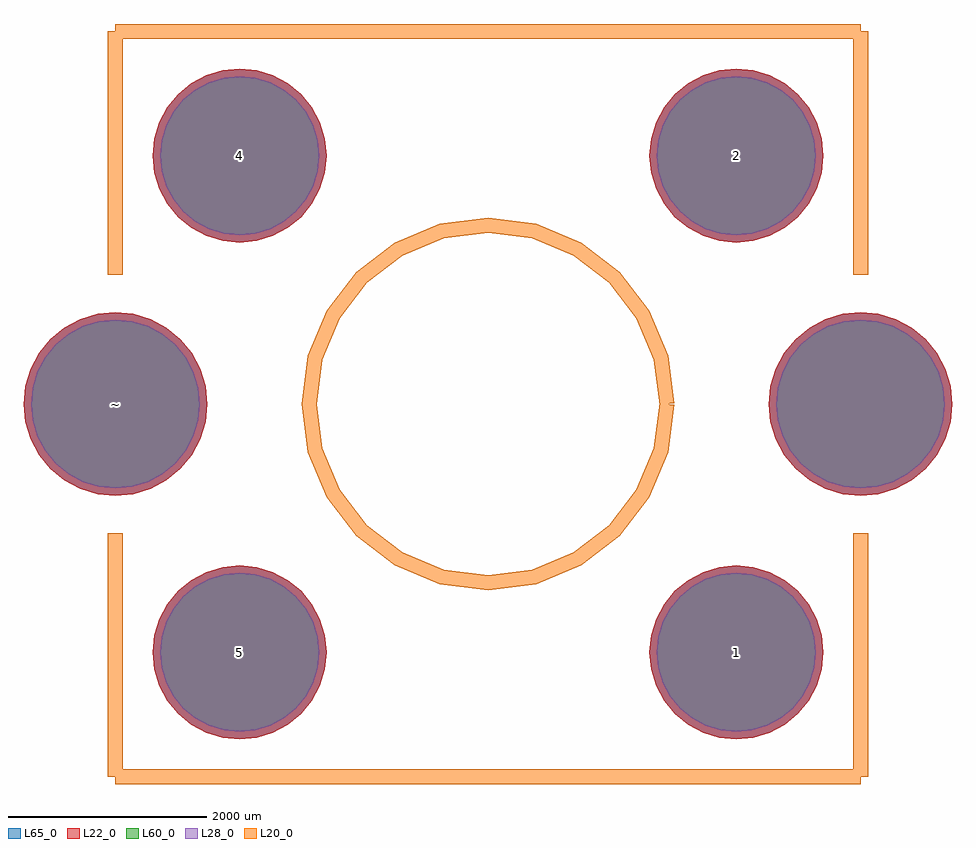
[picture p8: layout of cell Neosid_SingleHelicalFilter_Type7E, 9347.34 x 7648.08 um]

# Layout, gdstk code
import gdstk
lib = gdstk.Library(unit=1e-6, precision=1e-09)
def P(c, l, *ps):  # polygons
    for p in ps: c.add(gdstk.Polygon(p, *l))
L20_0 = (20, 0)
L22_0 = (22, 0)
L28_0 = (28, 0)
L60_0 = (60, 0)
L65_0 = (65, 0)

neosid_singlehelicalfilt = lib.new_cell('Neosid_SingleHelicalFilter_Type7E')
P(neosid_singlehelicalfilt, L22_0, [(4673.67,0),(4655.903,180.386),(4603.287,353.841),(4517.842,513.697),(4402.852,653.812),(4262.737,768.802),(4102.881,854.247),(3929.426,906.863),(3749.04,924.63),(3568.654,906.863),(3395.199,854.247),(3235.343,768.802),(3095.228,653.812),(2980.238,513.697),(2894.793,353.841),(2842.177,180.386),(2824.41,0),(2842.177,-180.386),(2894.793,-353.841),(2980.238,-513.697),(3095.228,-653.812),(3235.343,-768.802),(3395.199,-854.247),(3568.654,-906.863),(3749.04,-924.63),(3929.426,-906.863),(4102.881,-854.247),(4262.737,-768.802),(4402.852,-653.812),(4517.842,-513.697),(4603.287,-353.841),(4655.903,-180.386)],
  [(-2824.41,0),(-2842.177,180.386),(-2894.793,353.841),(-2980.238,513.697),(-3095.228,653.812),(-3235.343,768.802),(-3395.199,854.247),(-3568.654,906.863),(-3749.04,924.63),(-3929.426,906.863),(-4102.881,854.247),(-4262.737,768.802),(-4402.852,653.812),(-4517.842,513.697),(-4603.287,353.841),(-4655.903,180.386),(-4673.67,0),(-4655.903,-180.386),(-4603.287,-353.841),(-4517.842,-513.697),(-4402.852,-653.812),(-4262.737,-768.802),(-4102.881,-854.247),(-3929.426,-906.863),(-3749.04,-924.63),(-3568.654,-906.863),(-3395.199,-854.247),(-3235.343,-768.802),(-3095.228,-653.812),(-2980.238,-513.697),(-2894.793,-353.841),(-2842.177,-180.386)],
  [(3374.46,-2499.36),(3357.645,-2328.636),(3307.847,-2164.474),(3226.979,-2013.18),(3118.149,-1880.571),(2985.54,-1771.741),(2834.246,-1690.873),(2670.084,-1641.075),(2499.36,-1624.26),(2328.636,-1641.075),(2164.474,-1690.873),(2013.18,-1771.741),(1880.571,-1880.571),(1771.741,-2013.18),(1690.873,-2164.474),(1641.075,-2328.636),(1624.26,-2499.36),(1641.075,-2670.084),(1690.873,-2834.246),(1771.741,-2985.54),(1880.571,-3118.149),(2013.18,-3226.979),(2164.474,-3307.847),(2328.636,-3357.645),(2499.36,-3374.46),(2670.084,-3357.645),(2834.246,-3307.847),(2985.54,-3226.979),(3118.149,-3118.149),(3226.979,-2985.54),(3307.847,-2834.246),(3357.645,-2670.084)],
  [(-1624.26,-2499.36),(-1641.075,-2328.636),(-1690.873,-2164.474),(-1771.741,-2013.18),(-1880.571,-1880.571),(-2013.18,-1771.741),(-2164.474,-1690.873),(-2328.636,-1641.075),(-2499.36,-1624.26),(-2670.084,-1641.075),(-2834.246,-1690.873),(-2985.54,-1771.741),(-3118.149,-1880.571),(-3226.979,-2013.18),(-3307.847,-2164.474),(-3357.645,-2328.636),(-3374.46,-2499.36),(-3357.645,-2670.084),(-3307.847,-2834.246),(-3226.979,-2985.54),(-3118.149,-3118.149),(-2985.54,-3226.979),(-2834.246,-3307.847),(-2670.084,-3357.645),(-2499.36,-3374.46),(-2328.636,-3357.645),(-2164.474,-3307.847),(-2013.18,-3226.979),(-1880.571,-3118.149),(-1771.741,-2985.54),(-1690.873,-2834.246),(-1641.075,-2670.084)],
  [(-1624.26,2499.36),(-1641.075,2670.084),(-1690.873,2834.246),(-1771.741,2985.54),(-1880.571,3118.149),(-2013.18,3226.979),(-2164.474,3307.847),(-2328.636,3357.645),(-2499.36,3374.46),(-2670.084,3357.645),(-2834.246,3307.847),(-2985.54,3226.979),(-3118.149,3118.149),(-3226.979,2985.54),(-3307.847,2834.246),(-3357.645,2670.084),(-3374.46,2499.36),(-3357.645,2328.636),(-3307.847,2164.474),(-3226.979,2013.18),(-3118.149,1880.571),(-2985.54,1771.741),(-2834.246,1690.873),(-2670.084,1641.075),(-2499.36,1624.26),(-2328.636,1641.075),(-2164.474,1690.873),(-2013.18,1771.741),(-1880.571,1880.571),(-1771.741,2013.18),(-1690.873,2164.474),(-1641.075,2328.636)],
  [(3374.46,2499.36),(3357.645,2670.084),(3307.847,2834.246),(3226.979,2985.54),(3118.149,3118.149),(2985.54,3226.979),(2834.246,3307.847),(2670.084,3357.645),(2499.36,3374.46),(2328.636,3357.645),(2164.474,3307.847),(2013.18,3226.979),(1880.571,3118.149),(1771.741,2985.54),(1690.873,2834.246),(1641.075,2670.084),(1624.26,2499.36),(1641.075,2328.636),(1690.873,2164.474),(1771.741,2013.18),(1880.571,1880.571),(2013.18,1771.741),(2164.474,1690.873),(2328.636,1641.075),(2499.36,1624.26),(2670.084,1641.075),(2834.246,1690.873),(2985.54,1771.741),(3118.149,1880.571),(3226.979,2013.18),(3307.847,2164.474),(3357.645,2328.636)])
P(neosid_singlehelicalfilt, L28_0, [(4598.67,0),(4582.345,165.755),(4533.996,325.139),(4455.482,472.029),(4349.819,600.779),(4221.069,706.442),(4074.179,784.956),(3914.795,833.305),(3749.04,849.63),(3583.285,833.305),(3423.901,784.956),(3277.011,706.442),(3148.261,600.779),(3042.598,472.029),(2964.084,325.139),(2915.735,165.755),(2899.41,0),(2915.735,-165.755),(2964.084,-325.139),(3042.598,-472.029),(3148.261,-600.779),(3277.011,-706.442),(3423.901,-784.956),(3583.285,-833.305),(3749.04,-849.63),(3914.795,-833.305),(4074.179,-784.956),(4221.069,-706.442),(4349.819,-600.779),(4455.482,-472.029),(4533.996,-325.139),(4582.345,-165.755)],
  [(-2899.41,0),(-2915.735,165.755),(-2964.084,325.139),(-3042.598,472.029),(-3148.261,600.779),(-3277.011,706.442),(-3423.901,784.956),(-3583.285,833.305),(-3749.04,849.63),(-3914.795,833.305),(-4074.179,784.956),(-4221.069,706.442),(-4349.819,600.779),(-4455.482,472.029),(-4533.996,325.139),(-4582.345,165.755),(-4598.67,0),(-4582.345,-165.755),(-4533.996,-325.139),(-4455.482,-472.029),(-4349.819,-600.779),(-4221.069,-706.442),(-4074.179,-784.956),(-3914.795,-833.305),(-3749.04,-849.63),(-3583.285,-833.305),(-3423.901,-784.956),(-3277.011,-706.442),(-3148.261,-600.779),(-3042.598,-472.029),(-2964.084,-325.139),(-2915.735,-165.755)],
  [(3299.46,-2499.36),(3284.086,-2343.268),(3238.556,-2193.175),(3164.619,-2054.848),(3065.116,-1933.604),(2943.872,-1834.101),(2805.545,-1760.164),(2655.452,-1714.634),(2499.36,-1699.26),(2343.268,-1714.634),(2193.175,-1760.164),(2054.848,-1834.101),(1933.604,-1933.604),(1834.101,-2054.848),(1760.164,-2193.175),(1714.634,-2343.268),(1699.26,-2499.36),(1714.634,-2655.452),(1760.164,-2805.545),(1834.101,-2943.872),(1933.604,-3065.116),(2054.848,-3164.619),(2193.175,-3238.556),(2343.268,-3284.086),(2499.36,-3299.46),(2655.452,-3284.086),(2805.545,-3238.556),(2943.872,-3164.619),(3065.116,-3065.116),(3164.619,-2943.872),(3238.556,-2805.545),(3284.086,-2655.452)],
  [(-1699.26,-2499.36),(-1714.634,-2343.268),(-1760.164,-2193.175),(-1834.101,-2054.848),(-1933.604,-1933.604),(-2054.848,-1834.101),(-2193.175,-1760.164),(-2343.268,-1714.634),(-2499.36,-1699.26),(-2655.452,-1714.634),(-2805.545,-1760.164),(-2943.872,-1834.101),(-3065.116,-1933.604),(-3164.619,-2054.848),(-3238.556,-2193.175),(-3284.086,-2343.268),(-3299.46,-2499.36),(-3284.086,-2655.452),(-3238.556,-2805.545),(-3164.619,-2943.872),(-3065.116,-3065.116),(-2943.872,-3164.619),(-2805.545,-3238.556),(-2655.452,-3284.086),(-2499.36,-3299.46),(-2343.268,-3284.086),(-2193.175,-3238.556),(-2054.848,-3164.619),(-1933.604,-3065.116),(-1834.101,-2943.872),(-1760.164,-2805.545),(-1714.634,-2655.452)],
  [(-1699.26,2499.36),(-1714.634,2655.452),(-1760.164,2805.545),(-1834.101,2943.872),(-1933.604,3065.116),(-2054.848,3164.619),(-2193.175,3238.556),(-2343.268,3284.086),(-2499.36,3299.46),(-2655.452,3284.086),(-2805.545,3238.556),(-2943.872,3164.619),(-3065.116,3065.116),(-3164.619,2943.872),(-3238.556,2805.545),(-3284.086,2655.452),(-3299.46,2499.36),(-3284.086,2343.268),(-3238.556,2193.175),(-3164.619,2054.848),(-3065.116,1933.604),(-2943.872,1834.101),(-2805.545,1760.164),(-2655.452,1714.634),(-2499.36,1699.26),(-2343.268,1714.634),(-2193.175,1760.164),(-2054.848,1834.101),(-1933.604,1933.604),(-1834.101,2054.848),(-1760.164,2193.175),(-1714.634,2343.268)],
  [(3299.46,2499.36),(3284.086,2655.452),(3238.556,2805.545),(3164.619,2943.872),(3065.116,3065.116),(2943.872,3164.619),(2805.545,3238.556),(2655.452,3284.086),(2499.36,3299.46),(2343.268,3284.086),(2193.175,3238.556),(2054.848,3164.619),(1933.604,3065.116),(1834.101,2943.872),(1760.164,2805.545),(1714.634,2655.452),(1699.26,2499.36),(1714.634,2343.268),(1760.164,2193.175),(1834.101,2054.848),(1933.604,1933.604),(2054.848,1834.101),(2193.175,1760.164),(2343.268,1714.634),(2499.36,1699.26),(2655.452,1714.634),(2805.545,1760.164),(2943.872,1834.101),(3065.116,1933.604),(3164.619,2054.848),(3238.556,2193.175),(3284.086,2343.268)])
P(neosid_singlehelicalfilt, L60_0, [(4598.67,0),(4582.345,165.755),(4533.996,325.139),(4455.482,472.029),(4349.819,600.779),(4221.069,706.442),(4074.179,784.956),(3914.795,833.305),(3749.04,849.63),(3583.285,833.305),(3423.901,784.956),(3277.011,706.442),(3148.261,600.779),(3042.598,472.029),(2964.084,325.139),(2915.735,165.755),(2899.41,0),(2915.735,-165.755),(2964.084,-325.139),(3042.598,-472.029),(3148.261,-600.779),(3277.011,-706.442),(3423.901,-784.956),(3583.285,-833.305),(3749.04,-849.63),(3914.795,-833.305),(4074.179,-784.956),(4221.069,-706.442),(4349.819,-600.779),(4455.482,-472.029),(4533.996,-325.139),(4582.345,-165.755)],
  [(-2899.41,0),(-2915.735,165.755),(-2964.084,325.139),(-3042.598,472.029),(-3148.261,600.779),(-3277.011,706.442),(-3423.901,784.956),(-3583.285,833.305),(-3749.04,849.63),(-3914.795,833.305),(-4074.179,784.956),(-4221.069,706.442),(-4349.819,600.779),(-4455.482,472.029),(-4533.996,325.139),(-4582.345,165.755),(-4598.67,0),(-4582.345,-165.755),(-4533.996,-325.139),(-4455.482,-472.029),(-4349.819,-600.779),(-4221.069,-706.442),(-4074.179,-784.956),(-3914.795,-833.305),(-3749.04,-849.63),(-3583.285,-833.305),(-3423.901,-784.956),(-3277.011,-706.442),(-3148.261,-600.779),(-3042.598,-472.029),(-2964.084,-325.139),(-2915.735,-165.755)],
  [(3299.46,-2499.36),(3284.086,-2343.268),(3238.556,-2193.175),(3164.619,-2054.848),(3065.116,-1933.604),(2943.872,-1834.101),(2805.545,-1760.164),(2655.452,-1714.634),(2499.36,-1699.26),(2343.268,-1714.634),(2193.175,-1760.164),(2054.848,-1834.101),(1933.604,-1933.604),(1834.101,-2054.848),(1760.164,-2193.175),(1714.634,-2343.268),(1699.26,-2499.36),(1714.634,-2655.452),(1760.164,-2805.545),(1834.101,-2943.872),(1933.604,-3065.116),(2054.848,-3164.619),(2193.175,-3238.556),(2343.268,-3284.086),(2499.36,-3299.46),(2655.452,-3284.086),(2805.545,-3238.556),(2943.872,-3164.619),(3065.116,-3065.116),(3164.619,-2943.872),(3238.556,-2805.545),(3284.086,-2655.452)],
  [(-1699.26,-2499.36),(-1714.634,-2343.268),(-1760.164,-2193.175),(-1834.101,-2054.848),(-1933.604,-1933.604),(-2054.848,-1834.101),(-2193.175,-1760.164),(-2343.268,-1714.634),(-2499.36,-1699.26),(-2655.452,-1714.634),(-2805.545,-1760.164),(-2943.872,-1834.101),(-3065.116,-1933.604),(-3164.619,-2054.848),(-3238.556,-2193.175),(-3284.086,-2343.268),(-3299.46,-2499.36),(-3284.086,-2655.452),(-3238.556,-2805.545),(-3164.619,-2943.872),(-3065.116,-3065.116),(-2943.872,-3164.619),(-2805.545,-3238.556),(-2655.452,-3284.086),(-2499.36,-3299.46),(-2343.268,-3284.086),(-2193.175,-3238.556),(-2054.848,-3164.619),(-1933.604,-3065.116),(-1834.101,-2943.872),(-1760.164,-2805.545),(-1714.634,-2655.452)],
  [(-1699.26,2499.36),(-1714.634,2655.452),(-1760.164,2805.545),(-1834.101,2943.872),(-1933.604,3065.116),(-2054.848,3164.619),(-2193.175,3238.556),(-2343.268,3284.086),(-2499.36,3299.46),(-2655.452,3284.086),(-2805.545,3238.556),(-2943.872,3164.619),(-3065.116,3065.116),(-3164.619,2943.872),(-3238.556,2805.545),(-3284.086,2655.452),(-3299.46,2499.36),(-3284.086,2343.268),(-3238.556,2193.175),(-3164.619,2054.848),(-3065.116,1933.604),(-2943.872,1834.101),(-2805.545,1760.164),(-2655.452,1714.634),(-2499.36,1699.26),(-2343.268,1714.634),(-2193.175,1760.164),(-2054.848,1834.101),(-1933.604,1933.604),(-1834.101,2054.848),(-1760.164,2193.175),(-1714.634,2343.268)],
  [(3299.46,2499.36),(3284.086,2655.452),(3238.556,2805.545),(3164.619,2943.872),(3065.116,3065.116),(2943.872,3164.619),(2805.545,3238.556),(2655.452,3284.086),(2499.36,3299.46),(2343.268,3284.086),(2193.175,3238.556),(2054.848,3164.619),(1933.604,3065.116),(1834.101,2943.872),(1760.164,2805.545),(1714.634,2655.452),(1699.26,2499.36),(1714.634,2343.268),(1760.164,2193.175),(1834.101,2054.848),(1933.604,1933.604),(2054.848,1834.101),(2193.175,1760.164),(2343.268,1714.634),(2499.36,1699.26),(2655.452,1714.634),(2805.545,1760.164),(2943.872,1834.101),(3065.116,1933.604),(3164.619,2054.848),(3238.556,2193.175),(3284.086,2343.268)])
P(neosid_singlehelicalfilt, L65_0, [(4673.67,0),(4655.903,180.386),(4603.287,353.841),(4517.842,513.697),(4402.852,653.812),(4262.737,768.802),(4102.881,854.247),(3929.426,906.863),(3749.04,924.63),(3568.654,906.863),(3395.199,854.247),(3235.343,768.802),(3095.228,653.812),(2980.238,513.697),(2894.793,353.841),(2842.177,180.386),(2824.41,0),(2842.177,-180.386),(2894.793,-353.841),(2980.238,-513.697),(3095.228,-653.812),(3235.343,-768.802),(3395.199,-854.247),(3568.654,-906.863),(3749.04,-924.63),(3929.426,-906.863),(4102.881,-854.247),(4262.737,-768.802),(4402.852,-653.812),(4517.842,-513.697),(4603.287,-353.841),(4655.903,-180.386)],
  [(-2824.41,0),(-2842.177,180.386),(-2894.793,353.841),(-2980.238,513.697),(-3095.228,653.812),(-3235.343,768.802),(-3395.199,854.247),(-3568.654,906.863),(-3749.04,924.63),(-3929.426,906.863),(-4102.881,854.247),(-4262.737,768.802),(-4402.852,653.812),(-4517.842,513.697),(-4603.287,353.841),(-4655.903,180.386),(-4673.67,0),(-4655.903,-180.386),(-4603.287,-353.841),(-4517.842,-513.697),(-4402.852,-653.812),(-4262.737,-768.802),(-4102.881,-854.247),(-3929.426,-906.863),(-3749.04,-924.63),(-3568.654,-906.863),(-3395.199,-854.247),(-3235.343,-768.802),(-3095.228,-653.812),(-2980.238,-513.697),(-2894.793,-353.841),(-2842.177,-180.386)],
  [(3374.46,-2499.36),(3357.645,-2328.636),(3307.847,-2164.474),(3226.979,-2013.18),(3118.149,-1880.571),(2985.54,-1771.741),(2834.246,-1690.873),(2670.084,-1641.075),(2499.36,-1624.26),(2328.636,-1641.075),(2164.474,-1690.873),(2013.18,-1771.741),(1880.571,-1880.571),(1771.741,-2013.18),(1690.873,-2164.474),(1641.075,-2328.636),(1624.26,-2499.36),(1641.075,-2670.084),(1690.873,-2834.246),(1771.741,-2985.54),(1880.571,-3118.149),(2013.18,-3226.979),(2164.474,-3307.847),(2328.636,-3357.645),(2499.36,-3374.46),(2670.084,-3357.645),(2834.246,-3307.847),(2985.54,-3226.979),(3118.149,-3118.149),(3226.979,-2985.54),(3307.847,-2834.246),(3357.645,-2670.084)],
  [(-1624.26,-2499.36),(-1641.075,-2328.636),(-1690.873,-2164.474),(-1771.741,-2013.18),(-1880.571,-1880.571),(-2013.18,-1771.741),(-2164.474,-1690.873),(-2328.636,-1641.075),(-2499.36,-1624.26),(-2670.084,-1641.075),(-2834.246,-1690.873),(-2985.54,-1771.741),(-3118.149,-1880.571),(-3226.979,-2013.18),(-3307.847,-2164.474),(-3357.645,-2328.636),(-3374.46,-2499.36),(-3357.645,-2670.084),(-3307.847,-2834.246),(-3226.979,-2985.54),(-3118.149,-3118.149),(-2985.54,-3226.979),(-2834.246,-3307.847),(-2670.084,-3357.645),(-2499.36,-3374.46),(-2328.636,-3357.645),(-2164.474,-3307.847),(-2013.18,-3226.979),(-1880.571,-3118.149),(-1771.741,-2985.54),(-1690.873,-2834.246),(-1641.075,-2670.084)],
  [(-1624.26,2499.36),(-1641.075,2670.084),(-1690.873,2834.246),(-1771.741,2985.54),(-1880.571,3118.149),(-2013.18,3226.979),(-2164.474,3307.847),(-2328.636,3357.645),(-2499.36,3374.46),(-2670.084,3357.645),(-2834.246,3307.847),(-2985.54,3226.979),(-3118.149,3118.149),(-3226.979,2985.54),(-3307.847,2834.246),(-3357.645,2670.084),(-3374.46,2499.36),(-3357.645,2328.636),(-3307.847,2164.474),(-3226.979,2013.18),(-3118.149,1880.571),(-2985.54,1771.741),(-2834.246,1690.873),(-2670.084,1641.075),(-2499.36,1624.26),(-2328.636,1641.075),(-2164.474,1690.873),(-2013.18,1771.741),(-1880.571,1880.571),(-1771.741,2013.18),(-1690.873,2164.474),(-1641.075,2328.636)],
  [(3374.46,2499.36),(3357.645,2670.084),(3307.847,2834.246),(3226.979,2985.54),(3118.149,3118.149),(2985.54,3226.979),(2834.246,3307.847),(2670.084,3357.645),(2499.36,3374.46),(2328.636,3357.645),(2164.474,3307.847),(2013.18,3226.979),(1880.571,3118.149),(1771.741,2985.54),(1690.873,2834.246),(1641.075,2670.084),(1624.26,2499.36),(1641.075,2328.636),(1690.873,2164.474),(1771.741,2013.18),(1880.571,1880.571),(2013.18,1771.741),(2164.474,1690.873),(2328.636,1641.075),(2499.36,1624.26),(2670.084,1641.075),(2834.246,1690.873),(2985.54,1771.741),(3118.149,1880.571),(3226.979,2013.18),(3307.847,2164.474),(3357.645,2328.636)])
neosid_singlehelicalfilt.add(gdstk.FlexPath([(-3749.04,3749.04),(-3749.04,1300.48)], 149.998, ends="flush", simple_path=True, layer=20, datatype=0))  # L20_0
neosid_singlehelicalfilt.add(gdstk.FlexPath([(3749.04,3749.04),(-3749.04,3749.04)], 149.998, ends="flush", simple_path=True, layer=20, datatype=0))  # L20_0
neosid_singlehelicalfilt.add(gdstk.FlexPath([(3749.04,1300.48),(3749.04,3749.04)], 149.998, ends="flush", simple_path=True, layer=20, datatype=0))  # L20_0
neosid_singlehelicalfilt.add(gdstk.FlexPath([(3749.04,-3749.04),(3749.04,-1300.48)], 149.998, ends="flush", simple_path=True, layer=20, datatype=0))  # L20_0
neosid_singlehelicalfilt.add(gdstk.FlexPath([(-3749.04,-3749.04),(3749.04,-3749.04)], 149.998, ends="flush", simple_path=True, layer=20, datatype=0))  # L20_0
neosid_singlehelicalfilt.add(gdstk.FlexPath([(-3749.04,-1300.48),(-3749.04,-3749.04)], 149.998, ends="flush", simple_path=True, layer=20, datatype=0))  # L20_0
neosid_singlehelicalfilt.add(gdstk.FlexPath([(1800.86,0),(1739.497,466.097),(1559.591,900.43),(1273.4,1273.4),(900.43,1559.591),(466.097,1739.497),(0,1800.86),(-466.097,1739.497),(-900.43,1559.591),(-1273.4,1273.4),(-1559.591,900.43),(-1739.497,466.097),(-1800.86,0),(-1739.497,-466.097),(-1559.591,-900.43),(-1273.4,-1273.4),(-900.43,-1559.591),(-466.097,-1739.497),(0,-1800.86),(466.097,-1739.497),(900.43,-1559.591),(1273.4,-1273.4),(1559.591,-900.43),(1739.497,-466.097),(1800.86,0)], 149.998, ends="flush", simple_path=True, layer=20, datatype=0))  # L20_0
neosid_singlehelicalfilt.add(gdstk.Label('~', (-3749.04,0), layer=28, texttype=0))
neosid_singlehelicalfilt.add(gdstk.Label('1', (2499.36,-2499.36), layer=28, texttype=0))
neosid_singlehelicalfilt.add(gdstk.Label('5', (-2499.36,-2499.36), layer=28, texttype=0))
neosid_singlehelicalfilt.add(gdstk.Label('4', (-2499.36,2499.36), layer=28, texttype=0))
neosid_singlehelicalfilt.add(gdstk.Label('2', (2499.36,2499.36), layer=28, texttype=0))
neosid_singlehelicalfilt.add(gdstk.Label('type', (-99.06,-5450.84), layer=9, texttype=0))
neosid_singlehelicalfilt.add(gdstk.Label('devicename', (0,5699.76), layer=9, texttype=0))

lib.write_gds('Neosid_SingleHelicalFilter_Type7E.gds')
